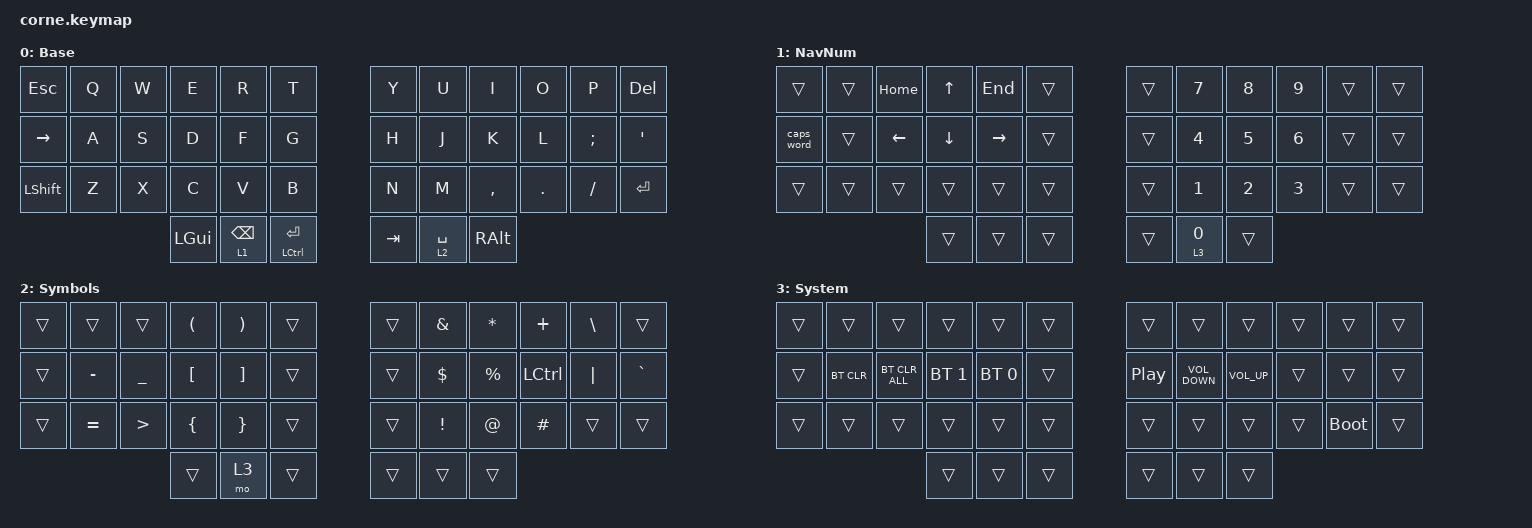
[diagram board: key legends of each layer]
#include <behaviors.dtsi>
#include <dt-bindings/zmk/bt.h>
#include <dt-bindings/zmk/keys.h>

#define DEF 0
#define NAV 1
#define SYM 2
#define ADJ 3

/ {
    behaviors {
        hm: homerow_mods {
            compatible = "zmk,behavior-hold-tap";
            label = "HOMEROW_MODS";
            #binding-cells = <2>;
            tapping-term-ms = <200>;
            quick_tap_ms = <0>;
            flavor = "tap-preferred";
            bindings = <&kp>, <&kp>;

            quick-tap-ms = <180>;
            global-quick-tap;
        };

        para: para {
            compatible = "zmk,behavior-tap-dance";
            label = "PARA";
            #binding-cells = <0>;
            bindings = <&kp LEFT_PARENTHESIS>, <&kp RIGHT_PARENTHESIS>;
        };

        caps: caps {
            compatible = "zmk,behavior-caps-word";
            label = "CAPS";
            #binding-cells = <0>;
            continue-list = <MINUS BACKSPACE>;
        };

        paraless: paraless {
            compatible = "zmk,behavior-mod-morph";
            label = "PARALESS";
            bindings = <&kp LEFT_PARENTHESIS>, <&kp LESS_THAN>;

            #binding-cells = <0>;
            mods = <(MOD_LSFT)>;
        };

        paragreat: paragreat {
            compatible = "zmk,behavior-mod-morph";
            label = "PARAGREAT";
            bindings = <&kp RIGHT_PARENTHESIS>, <&kp GREATER_THAN>;

            #binding-cells = <0>;
            mods = <(MOD_LSFT)>;
        };

        quick_tap: quick_tap {
            compatible = "zmk,behavior-hold-tap";
            label = "QUICK_TAP";
            bindings = <&mo>, <&kp>;

            #binding-cells = <2>;
            quick-tap-ms = <180>;
            tapping-term-ms = <200>;
        };
    };

    macros {
        browsertab: browsertab {
            compatible = "zmk,behavior-macro";
            #binding-cells = <0>;
            bindings =
                <&macro_press>,
                <&kp LCTRL>,
                <&macro_tap>,
                <&kp TAB>,
                <&macro_release>,
                <&kp LCTRL>;
        };

        adob: adob {
            compatible = "zmk,behavior-macro";
            #binding-cells = <0>;
            bindings =
                <&macro_press>,
                <&kp LS(RIGHT_ALT)>,
                <&macro_tap>,
                <&kp KP_NUMBER_1 &kp KP_NUMBER_3 &kp KP_NUMBER_2>,
                <&macro_release>,
                <&kp RIGHT_ALT>;

            label = "ADOB";
        };
    };

    combos { compatible = "zmk,combos"; };

    //

    keymap {
        compatible = "zmk,keymap";

        DEF {
            display-name = "Base";

            // -----------------------------------------------------------------------------------------
            // |  Q  |  W  |  E  |  R  |  T  |   |  Y  |  U   |  I  |  O  |  P  |
            // |  A  |  S  |  D  |  F  |  G  |   |  H  |  J   |  K  |  L  |  ;  |
            // |  Z  |  X  |  C  |  V  |  B  |   |  N  |  M   |  ,  |  .  |  /  |
            // | GUI | CTRL | SHFT | LWR | SPC |   | ENT | RSE  | BKSP | ALT | ESC |

            bindings = <
&kp ESCAPE       &kp Q  &kp W  &kp E     &kp R                   &kp T              &kp Y    &kp U        &kp I          &kp O    &kp P     &kp DELETE
&kp RIGHT_ARROW  &kp A  &kp S  &kp D     &kp F                   &kp G              &kp H    &kp J        &kp K          &kp L    &kp SEMI  &kp SQT
&kp LEFT_SHIFT   &kp Z  &kp X  &kp C     &kp V                   &kp B              &kp N    &kp M        &kp COMMA      &kp DOT  &kp FSLH  &kp ENTER
                               &kp LGUI  &quick_tap 1 BACKSPACE  &mt LCTRL ENTER    &kp TAB  &lt 2 SPACE  &kp RIGHT_ALT
            >;
        };

        NAV {
            display-name = "NavNum";

            // -----------------------------------------------------------------------------------------
            // |  TAB |  1  |  2  |  3  |  4  |  5  |   |  6  |  7  |  8  |  9  |  0  | BKSP |
            // | BTCLR| BT1 | BT2 | BT3 | BT4 | BT5 |   | LFT | DWN |  UP | RGT |     |      |
            // | SHFT |     |     |     |     |     |   |     |     |     |     |     |      |
            // | GUI | CTRL | SHFT | LWR | SPC |   | ENT | RSE  | BKSP | ALT | ESC |

            bindings = <
&trans      &trans  &kp HOME        &kp UP_ARROW    &kp END          &trans    &trans  &kp N7          &kp N8  &kp N9  &trans  &trans
&caps_word  &trans  &kp LEFT_ARROW  &kp DOWN_ARROW  &kp RIGHT_ARROW  &trans    &trans  &kp N4          &kp N5  &kp N6  &trans  &trans
&trans      &trans  &trans          &trans          &trans           &trans    &trans  &kp N1          &kp N2  &kp N3  &trans  &trans
                                    &trans          &trans           &trans    &trans  &lt 3 NUMBER_0  &trans
            >;
        };

        SYM {
            display-name = "Symbols";

            // -----------------------------------------------------------------------------------------
            // |  TAB |  !  |  @  |  #  |  $  |  %  |   |  ^  |  &  |  *  |  (  |  )  | BKSP |
            // | CTRL |     |     |     |     |     |   |  -  |  =  |  [  |  ]  |  \  |  `   |
            // | SHFT |     |     |     |     |     |   |  _  |  +  |  {  |  }  | "|" |  ~   |
            //                    | GUI |     | SPC |   | ENT |     | ALT |

            bindings = <
&trans  &trans     &trans            &kp LEFT_PARENTHESIS  &kp RIGHT_PARENTHESIS  &trans    &trans  &kp AMPS         &kp ASTRK    &kp PLUS   &kp BACKSLASH  &trans
&trans  &kp MINUS  &kp UNDERSCORE    &kp LEFT_BRACKET      &kp RIGHT_BRACKET      &trans    &trans  &kp DOLLAR       &kp PERCENT  &kp LCTRL  &kp PIPE       &kp GRAVE
&trans  &kp EQUAL  &kp GREATER_THAN  &kp LEFT_BRACE        &kp RIGHT_BRACE        &trans    &trans  &kp EXCLAMATION  &kp AT_SIGN  &kp HASH   &trans         &trans
                                     &trans                &mo 3                  &trans    &trans  &trans           &trans
            >;
        };

        ADJ {
            display-name = "System";
            bindings = <
&trans  &trans      &trans          &trans        &trans        &trans    &trans            &trans             &trans           &trans  &trans       &trans
&trans  &bt BT_CLR  &bt BT_CLR_ALL  &bt BT_SEL 1  &bt BT_SEL 0  &trans    &kp C_PLAY_PAUSE  &kp C_VOLUME_DOWN  &kp C_VOLUME_UP  &trans  &trans       &trans
&trans  &trans      &trans          &trans        &trans        &trans    &trans            &trans             &trans           &trans  &bootloader  &trans
                                    &trans        &trans        &trans    &trans            &trans             &trans
            >;
        };
    };

    conditional_layers { compatible = "zmk,conditional-layers"; };
};
